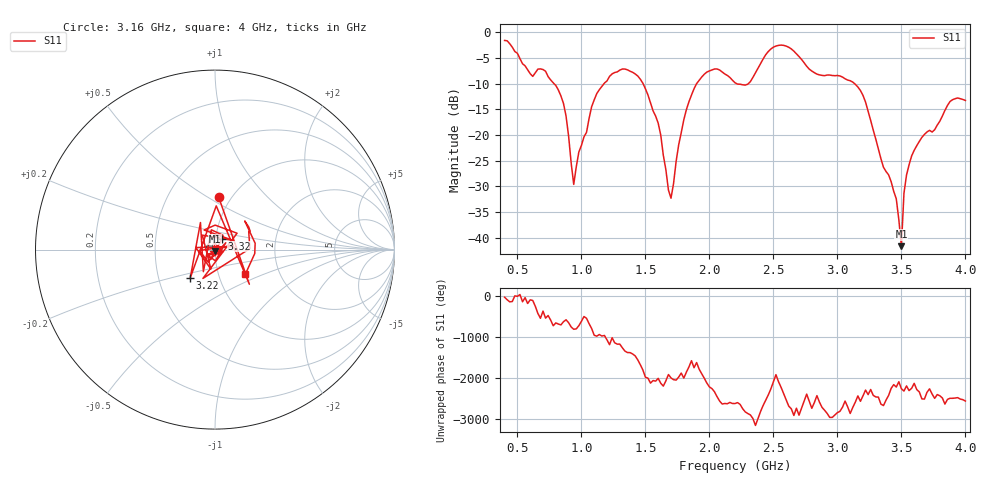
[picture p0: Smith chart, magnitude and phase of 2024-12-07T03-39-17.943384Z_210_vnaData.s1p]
!Created with skrf (http://scikit-rf.org).
# Hz S RI R 50.0
!freq ReS11 ImS11
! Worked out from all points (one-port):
!   181 points, 400 MHz to 4 GHz, reference 50 ohm
!   lowest |S11| = -41.6 dB at 3.5 GHz (marker M1), VSWR 1.02, Z = 49.9 - j0.816 ohm
!   |S11| at or under -10 dB: 787.3 MHz to 1.176 GHz (388.4 MHz wide, 39.6 % of centre); 1.482 GHz to 1.899 GHz (417.4 MHz wide, 24.7 % of centre); 3.136 GHz to end of sweep (the widest 3 of 4)
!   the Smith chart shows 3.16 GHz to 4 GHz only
!   S11 on the Smith chart (normalised r, x): 3.16 GHz: 0.87, +0.56; 3.22 GHz: 0.72, -0.24; 3.32 GHz: 1.07, +0.13; 4 GHz: 1.34, -0.39
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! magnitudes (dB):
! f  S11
! 400 MHz  -1.6
! 620 MHz  -8.6
! 720 MHz  -7.6
! 860 MHz  -13.8
! 940 MHz  -29.6
! 980 MHz  -23.3
! 1.1 GHz  -13.1
! 1.3 GHz  -7.3
! 1.52 GHz  -12.2
! 1.6 GHz  -17.7
! 1.7 GHz  -32.3
! 1.76 GHz  -21.9
! 1.84 GHz  -13.5
! 1.94 GHz  -8.7
! 2.2 GHz  -9.8
! 2.3 GHz  -10.1
! 2.5 GHz  -2.9
! 2.66 GHz  -3.6
! 3.1 GHz  -9.4
! 3.16 GHz  -10.6
! 3.22 GHz  -13.6
! 3.32 GHz  -22.7
! 3.46 GHz  -32.4
! 3.5 GHz  -41.6
! 3.52 GHz  -31.3
! 3.56 GHz  -25.8
! 3.88 GHz  -13.5
! 4 GHz  -13.2
